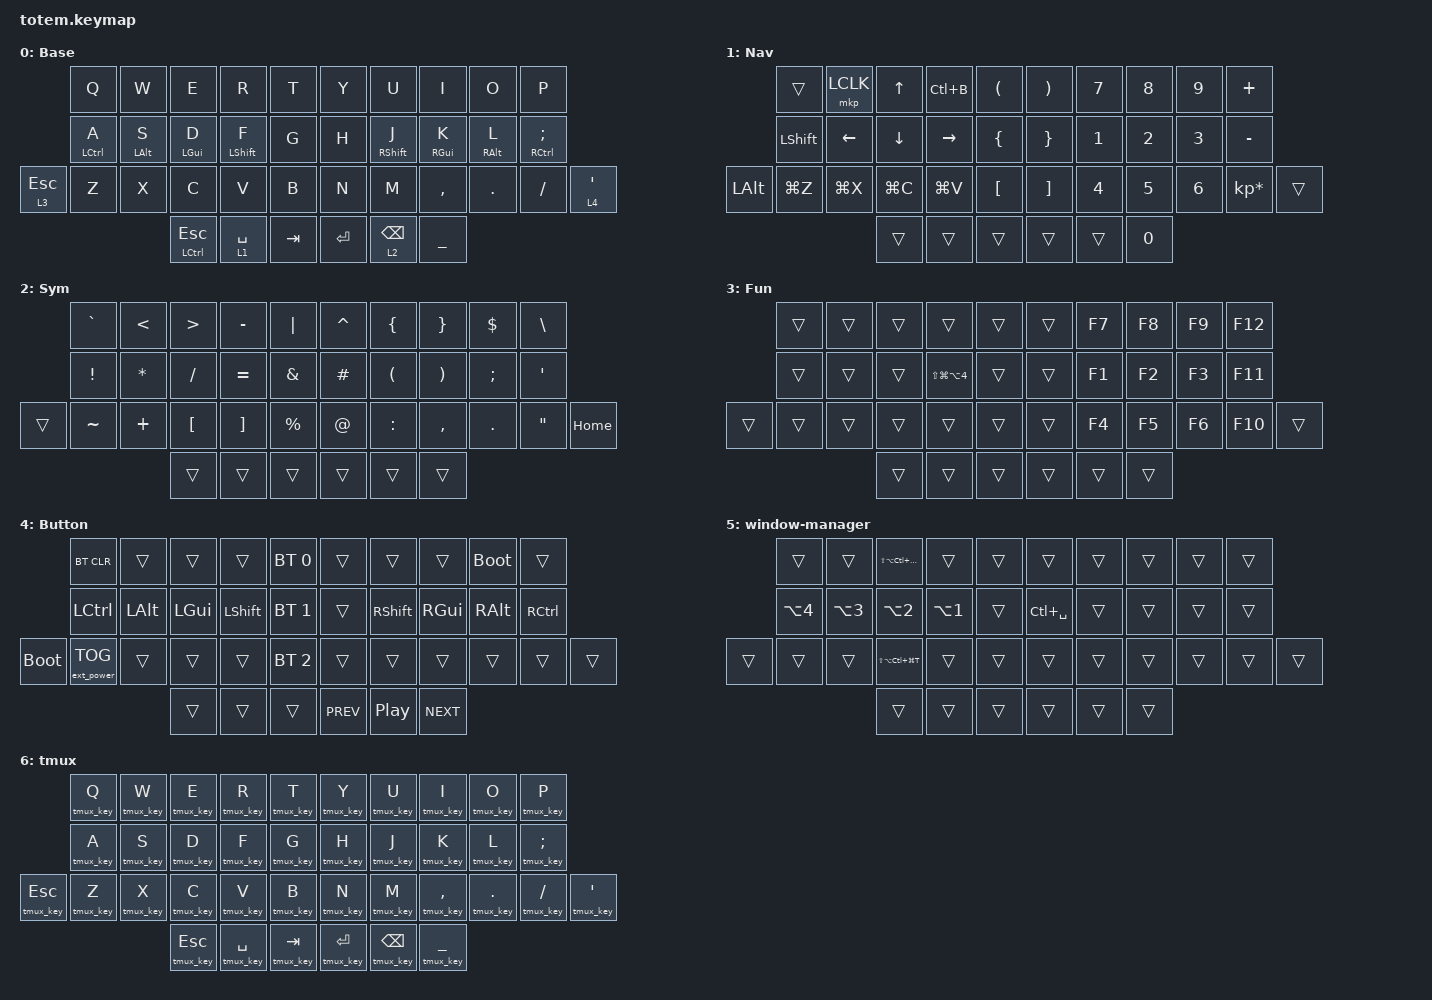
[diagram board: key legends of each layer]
//
//                                                        ▀▀▀▀▀     ▀▀▀▀▀          ▀▀█▀▀
//                                                        ▄▀▀▀▄  ▄  ▄▀▀▀▄  ▄  ▄▀▀▀▄  █  ▄▀▀▀▄
//                                                        █   █  █  █   █  █  █   █  █  █   █
//                                                         ▀▀▀   █   ▀▀▀   █   ▀▀▀   ▀   ▀▀▀
//                                                               █      ▄▄▄█▄▄▄    █   █  
//                                                               ▀      █  █  █     █▄█
//                                                             ▀▀▀▀▀    █  █  █      ▀
//                                                                      ▀  ▀  ▀
//
// ▄▄▄▄▄▄▄▄▄▄▄▄▄▄▄▄▄▄▄▄▄▄▄▄▄▄▄▄▄▄▄▄▄▄▄▄▄▄▄▄▄▄▄▄▄▄▄▄▄▄▄▄▄▄▄▄▄▄▄▄▄▄▄▄▄▄▄▄▄▄▄▄▄▄▄▄▄▄▄▄▄▄▄▄▄▄▄▄▄▄▄▄▄▄▄▄▄▄▄▄▄▄▄▄▄▄▄▄▄▄▄▄▄▄▄▄▄▄▄▄▄▄▄▄▄▄▄▄▄▄▄▄▄▄▄▄▄▄▄▄▄▄▄▄▄▄▄▄▄

#include <behaviors.dtsi>
#include <dt-bindings/zmk/bt.h>
#include <dt-bindings/zmk/ext_power.h>
#include <dt-bindings/zmk/keys.h>
#include <dt-bindings/zmk/pointing.h>

#define Base        0
#define Media       1
#define Nav         2
#define Mouse       3
#define Sym         4
#define Num         5
#define Fun         6
#define Button      7
#define Game        8
#define Gameplus    9

&mt {
    quick-tap-ms = <100>;
    global-quick-tap;
    flavor = "tap-preferred";
    tapping-term-ms = <170>;
};

&lt {
    tapping-term-ms = <240>;
    flavor = "balanced";
    quick-tap-ms = <150>;
};

/ {
    behaviors {
        hm: homerow_mods {
            compatible = "zmk,behavior-hold-tap";
            label = "HOMEROW_MODS";
            #binding-cells = <2>;
            flavor = "tap-preferred";
            tapping-term-ms = <200>;
            quick-tap-ms = <125>;
            global-quick-tap;
            bindings = <&kp>, <&kp>;
        };
    };

    macros {
        tmux_key: tmux_key {
            compatible = "zmk,behavior-macro-one-param";
            #binding-cells = <1>;
            bindings = <&kp LC(B)>, <&macro_param_1to1>, <&kp MACRO_PLACEHOLDER>;
        };
    };

    combos {
        compatible = "zmk,combos";
        timeout-ms = <35>;

        layer {
            bindings = <&mo 5>;
            key-positions = <33 36>;
            timeout-ms = <30>;
        };

        layer3 {
            bindings = <&mo 3>;
            key-positions = <23 24>;
            layers = <1 0>;
            timeout-ms = <30>;
        };

        tmux {
            bindings = <&mo 6>;
            key-positions = <35 34>;
        };
    };

    keymap {
        compatible = "zmk,keymap";

        Base {
            label = "Base";
            bindings = <
              &kp Q               &kp W       &kp E             &kp R         &kp T      &kp Y    &kp U        &kp I            &kp O       &kp P
              &hm LEFT_CONTROL A  &hm LALT S  &hm LEFT_GUI D    &hm LSHIFT F  &kp G      &kp H    &hm RSHFT J  &hm RIGHT_GUI K  &hm RALT L  &hm RIGHT_CONTROL SEMICOLON
&lt 3 ESCAPE  &kp Z               &kp X       &kp C             &kp V         &kp B      &kp N    &kp M        &kp COMMA        &kp DOT     &kp SLASH                    &lt 4 APOSTROPHE
                                              &mt LCTRL ESCAPE  &lt 1 SPACE   &kp TAB    &kp RET  &lt 2 BSPC   &kp UNDERSCORE
            >;
        };

        Nav {
            label = "Nav";
            bindings = <
              &trans          &mkp LCLK  &kp UP_ARROW  &kp LC(B)  &kp LEFT_PARENTHESIS    &kp RIGHT_PARENTHESIS  &kp NUMBER_7  &kp NUMBER_8  &kp NUMBER_9  &kp PLUS
              &kp LEFT_SHIFT  &kp LEFT   &kp DOWN      &kp RIGHT  &kp LEFT_BRACE          &kp RIGHT_BRACE        &kp NUMBER_1  &kp NUMBER_2  &kp NUMBER_3  &kp MINUS
&kp LEFT_ALT  &kp LG(Z)       &kp LG(X)  &kp LG(C)     &kp LG(V)  &kp LEFT_BRACKET        &kp RIGHT_BRACKET      &kp NUMBER_4  &kp NUMBER_5  &kp NUMBER_6  &kp KP_MULTIPLY  &trans
                                         &trans        &trans     &trans                  &trans                 &trans        &kp NUMBER_0
            >;
        };

        Sym {
            label = "Sym";
            bindings = <
        &kp GRAVE        &kp LESS_THAN  &kp GREATER_THAN  &kp MINUS  &kp PIPE         &kp CARET  &kp LEFT_BRACE        &kp RIGHT_BRACE        &kp DOLLAR  &kp BACKSLASH
        &kp EXCLAMATION  &kp ASTERISK   &kp FSLH          &kp EQUAL  &kp AMPERSAND    &kp HASH   &kp LEFT_PARENTHESIS  &kp RIGHT_PARENTHESIS  &kp SEMI    &kp SQT
&trans  &kp TILDE        &kp PLUS       &kp LBKT          &kp RBKT   &kp PERCENT      &kp AT     &kp COLON             &kp COMMA              &kp DOT     &kp DOUBLE_QUOTES  &kp HOME
                                        &trans            &trans     &trans           &trans     &trans                &trans
            >;
        };

        Fun {
            label = "Fun";
            bindings = <
        &trans  &trans  &trans  &trans                    &trans    &trans  &kp F7  &kp F8  &kp F9  &kp F12
        &trans  &trans  &trans  &kp LS(LG(LA(NUMBER_4)))  &trans    &trans  &kp F1  &kp F2  &kp F3  &kp F11
&trans  &trans  &trans  &trans  &trans                    &trans    &trans  &kp F4  &kp F5  &kp F6  &kp F10  &trans
                        &trans  &trans                    &trans    &trans  &trans  &trans
            >;
        };

        Button {
            label = "Button";
            bindings = <
             &bt BT_CLR         &trans    &trans        &trans      &bt BT_SEL 0    &trans      &trans            &trans         &bootloader  &trans
             &kp LEFT_CONTROL   &kp LALT  &kp LEFT_GUI  &kp LSHIFT  &bt BT_SEL 1    &trans      &kp RSHIFT        &kp RIGHT_GUI  &kp RALT     &kp RIGHT_CONTROL
&bootloader  &ext_power EP_TOG  &trans    &trans        &trans      &bt BT_SEL 2    &trans      &trans            &trans         &trans       &trans             &trans
                                          &trans        &trans      &trans          &kp C_PREV  &kp C_PLAY_PAUSE  &kp C_NEXT
            >;
        };

        window-manager {
            bindings = <
        &trans            &trans            &kp LS(LA(LC(LG(M))))  &trans            &trans    &trans         &trans  &trans  &trans  &trans
        &kp LA(NUMBER_4)  &kp LA(NUMBER_3)  &kp LA(NUMBER_2)       &kp LA(NUMBER_1)  &trans    &kp LC(SPACE)  &trans  &trans  &trans  &trans
&trans  &trans            &trans            &kp LS(LA(LC(LG(T))))  &trans            &trans    &trans         &trans  &trans  &trans  &trans  &trans
                                            &trans                 &trans            &trans    &trans         &trans  &trans
            >;
        };

        tmux {
            bindings = <
                 &tmux_key Q      &tmux_key W      &tmux_key E      &tmux_key R      &tmux_key T      &tmux_key Y      &tmux_key U      &tmux_key I      &tmux_key O      &tmux_key P
                 &tmux_key A      &tmux_key S      &tmux_key D      &tmux_key F      &tmux_key G      &tmux_key H      &tmux_key J      &tmux_key K      &tmux_key L      &tmux_key SEMICOLON
&tmux_key ESCAPE  &tmux_key Z      &tmux_key X      &tmux_key C      &tmux_key V      &tmux_key B      &tmux_key N      &tmux_key M      &tmux_key COMMA  &tmux_key DOT    &tmux_key SLASH      &tmux_key APOSTROPHE
                                  &tmux_key ESCAPE &tmux_key SPACE  &tmux_key TAB    &tmux_key RET    &tmux_key BSPC   &tmux_key UNDERSCORE
            >;
        };
    };
};
